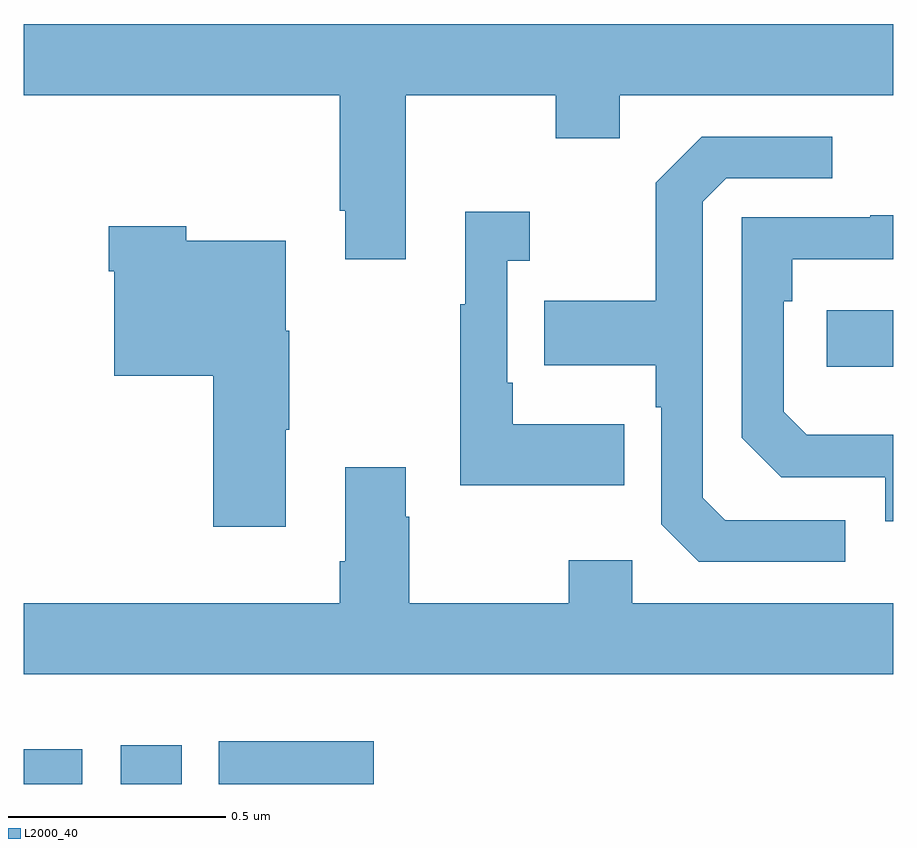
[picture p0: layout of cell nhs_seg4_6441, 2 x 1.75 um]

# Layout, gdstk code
import gdstk
lib = gdstk.Library(unit=1e-6, precision=1e-09)
def R(c, l, rs):  # rectangles x0, y0, x1, y1
    for r in rs: c.add(gdstk.rectangle(r[:2], r[2:], *l))
def P(c, l, *ps):  # polygons
    for p in ps: c.add(gdstk.Polygon(p, *l))
L2000_40 = (2000, 40)

nhs_seg4_6441 = lib.new_cell('nhs_seg4_6441')
R(nhs_seg4_6441, L2000_40, [(190,797.9,190.135,797.98), (190.223,797.9,190.363,797.989), (190.449,797.9,190.805,797.998), (191.847,798.86,192,798.99)])
P(nhs_seg4_6441, L2000_40, [(190.879,799.484),(191.224,799.484),(191.224,799.385),(191.371,799.385),(191.371,799.484),(192,799.484),(192,799.648),(190,799.648),(190,799.484),(190.727,799.484),(190.727,799.219),(190.739,799.219),(190.739,799.107),(190.879,799.107)],
  [(191.89,798.507),(191.613,798.507),(191.562,798.558),(191.562,799.239),(191.616,799.293),(191.86,799.293),(191.86,799.389),(191.559,799.389),(191.454,799.283),(191.454,799.011),(191.197,799.011),(191.197,798.863),(191.454,798.863),(191.454,798.767),(191.466,798.767),(191.466,798.498),(191.553,798.411),(191.89,798.411)],
  [(191.381,798.727),(191.125,798.727),(191.125,798.823),(191.112,798.823),(191.112,799.103),(191.164,799.103),(191.164,799.216),(191.015,799.216),(191.015,799.003),(191.004,799.003),(191.004,798.587),(191.381,798.587)],
  [(192,798.703),(191.801,798.703),(191.748,798.756),(191.748,799.01),(191.768,799.01),(191.768,799.107),(192,799.107),(192,799.208),(191.947,799.208),(191.947,799.203),(191.652,799.203),(191.652,798.696),(191.742,798.606),(191.982,798.606),(191.982,798.504),(192,798.504)],
  [(190.603,798.715),(190.611,798.715),(190.611,798.943),(190.603,798.943),(190.603,799.15),(190.374,799.15),(190.374,799.183),(190.196,799.183),(190.196,799.079),(190.208,799.079),(190.208,798.839),(190.436,798.839),(190.436,798.492),(190.603,798.492)],
  [(192,798.316),(191.4,798.316),(191.4,798.415),(191.254,798.415),(191.254,798.316),(190.887,798.316),(190.887,798.515),(190.879,798.515),(190.879,798.628),(190.739,798.628),(190.739,798.412),(190.727,798.412),(190.727,798.316),(190,798.316),(190,798.152),(192,798.152)])

lib.write_gds('nhs_seg4_6441.gds')
